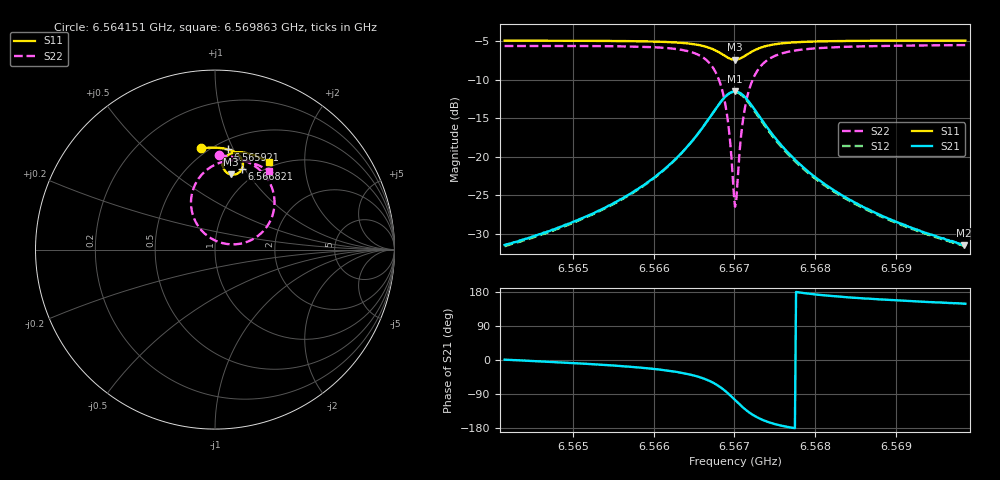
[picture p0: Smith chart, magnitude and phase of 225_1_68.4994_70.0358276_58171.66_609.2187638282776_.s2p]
#  HZ  S  RI  R  50.00
! Rohde & Schwarz Vector Network Analyzer
! Rohde-Schwarz,ZNB20-2Port,1311601062101988,3.16
! Created: UTC 3/20/2024, 4:58:42 PM
! freq[Hz]  re:S11  im:S11  re:S21  im:S21  re:S12  im:S12  re:S22  im:S22
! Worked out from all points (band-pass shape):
!   401 points, 6.564151 GHz to 6.569863 GHz, reference 50 ohm
!   highest |S21| = -11.49 dB at 6.567007 GHz (marker M1); lowest = -31.5 dB at 6.569848 GHz (marker M2)
!   |S21| within 3 dB of the highest: 6.56672 GHz to 6.567292 GHz (572.2 kHz wide, 0.00871 % of centre)
!   lowest |S11| = -7.4 dB at 6.567007 GHz (marker M3), VSWR 2.49, Z = 40.5 + j41.5 ohm
!   |S11| at or under -10 dB: nowhere
!   |S22| runs from -26.5 to -5.5 dB; largest |S21 - S12| = 0.012
!   S11 on the Smith chart (normalised r, x): 6.564151 GHz: 0.46, +0.76; 6.565921 GHz: 0.58, +0.95; 6.566821 GHz: 0.84, +0.97; 6.569863 GHz: 0.93, +1.34
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6.5641506e9  -0.0784 0.5637  0.0267 0.000456  0.0263 -0.000126  0.0205 0.5252
6.5651074e9  -0.000913 0.568  0.0393 -0.00649  0.0387 -0.00705  0.1092 0.5141
6.5659213e9  0.0731 0.5582  0.0633 -0.0254  0.0623 -0.0262  0.2086 0.4743
6.5660641e9  0.0876 0.5535  0.0704 -0.0329  0.0692 -0.0337  0.2312 0.4591
6.5663783e9  0.1227 0.5353  0.0906 -0.0637  0.0891 -0.0651  0.2896 0.3981
6.5665925e9  0.147 0.508  0.1036 -0.1109  0.1013 -0.1131  0.3277 0.3068
6.566721e9  0.1556 0.4794  0.0991 -0.161  0.095 -0.1639  0.3261 0.2112
6.566821e9  0.1501 0.4498  0.0722 -0.2118  0.0656 -0.2148  0.2797 0.1156
6.5669067e9  0.1291 0.4258  0.0196 -0.2511  0.00983 -0.2516  0.1836 0.0452
6.5669352e9  0.1184 0.4205  -0.00446 -0.2587  -0.0151 -0.2578  0.1399 0.0326
6.5669924e9  0.0938 0.4175  -0.0579 -0.2598  -0.0688 -0.2552  0.045 0.0352
6.5670066e9  0.0874 0.4186  -0.0713 -0.2567  -0.082 -0.2512  0.0218 0.0421
6.5670352e9  0.0755 0.4227  -0.0968 -0.2468  -0.1067 -0.2394  -0.0217 0.0626
6.5670923e9  0.0562 0.4379  -0.1383 -0.2144  -0.1451 -0.2046  -0.0891 0.1245
6.5671352e9  0.0477 0.4527  -0.1584 -0.1844  -0.1624 -0.1739  -0.119 0.1797
6.5671923e9  0.0439 0.4732  -0.1709 -0.1441  -0.1721 -0.134  -0.1336 0.2512
6.5672637e9  0.0478 0.4952  -0.1704 -0.1011  -0.1693 -0.0927  -0.1247 0.3256
6.5675207e9  0.0867 0.5345  -0.1277 -0.022  -0.125 -0.0184  -0.0282 0.4569
6.5679634e9  0.1452 0.5424  -0.0759 0.00804  -0.0741 0.00913  0.0929 0.4974
6.5689202e9  0.2318 0.5201  -0.0367 0.0145  -0.0359 0.0147  0.2225 0.4777
6.5698484e9  0.2995 0.4863  -0.0228 0.0138  -0.0224 0.014  0.3009 0.4399
6.5698627e9  0.3002 0.4856  -0.0227 0.014  -0.0222 0.014  0.3019 0.4391
